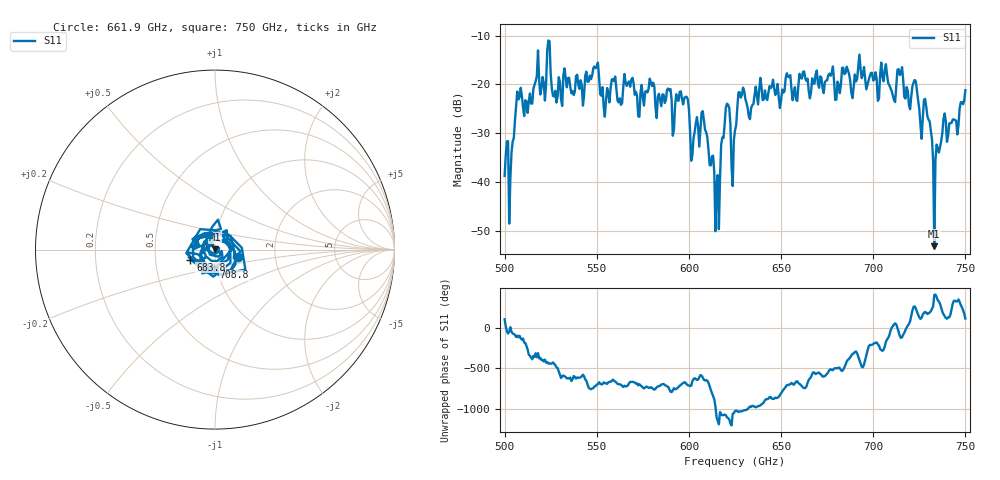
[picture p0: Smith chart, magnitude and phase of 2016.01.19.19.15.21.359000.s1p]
!Created with skrf (http://scikit-rf.org).
# GHz S RI R 50.0
!freq ReS11 ImS11
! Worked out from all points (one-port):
!   401 points, 500 GHz to 750 GHz, reference 50 ohm
!   lowest |S11| = -53.2 dB at 733.1 GHz (marker M1), VSWR 1.00, Z = 50.2 + j0.153 ohm
!   |S11| at or under -10 dB: start of sweep to end of sweep
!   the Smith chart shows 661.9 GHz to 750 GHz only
!   S11 on the Smith chart (normalised r, x): 661.9 GHz: 1.29, -0.11; 683.8 GHz: 0.75, -0.09; 708.8 GHz: 0.97, -0.19; 750 GHz: 0.92, +0.15
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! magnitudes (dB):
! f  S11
! 500 GHz  -38.8
! 503.8 GHz  -33.9
! 508.1 GHz  -22.6
! 520.6 GHz  -18.5
! 523.8 GHz  -11.0
! 526.9 GHz  -22.5
! 531.2 GHz  -24.4
! 549.4 GHz  -16.7
! 553.1 GHz  -20.6
! 562.5 GHz  -22.9
! 593.8 GHz  -23.2
! 598.8 GHz  -22.5
! 601.9 GHz  -34.5
! 608.1 GHz  -27.4
! 615.6 GHz  -38.6
! 620.6 GHz  -24.0
! 625 GHz  -29.4
! 628.1 GHz  -22.7
! 656.2 GHz  -23.2
! 661.9 GHz  -17.4
! 683.8 GHz  -16.6
! 687.5 GHz  -19.2
! 708.8 GHz  -20.2
! 718.8 GHz  -21.3
! 728.8 GHz  -24.6
! 733.1 GHz  -53.2
! 738.1 GHz  -27.0
! 750 GHz  -21.2
